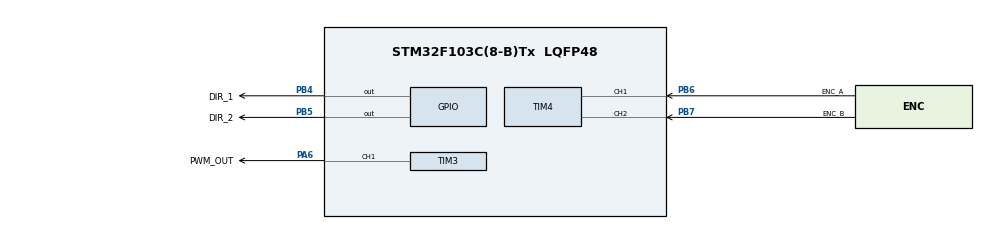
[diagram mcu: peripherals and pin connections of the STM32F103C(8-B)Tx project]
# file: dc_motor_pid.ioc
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Mcu.Family=STM32F1
Mcu.Name=STM32F103C(8-B)Tx
Mcu.Package=LQFP48
NVIC.PriorityGroup=NVIC_PRIORITYGROUP_4
NVIC.TIM2_IRQn=true\:0\:0\:false\:false\:true\:true\:true\:true
PA13.Mode=Serial_Wire
PA13.Signal=SYS_JTMS-SWDIO
PA14.Mode=Serial_Wire
PA14.Signal=SYS_JTCK-SWCLK
PA6.GPIO_Label=PWM_OUT
PA6.Signal=S_TIM3_CH1
PB4.GPIO_Label=DIR_1
PB4.Signal=GPIO_Output
PB5.GPIO_Label=DIR_2
PB5.Signal=GPIO_Output
PB6.GPIO_Label=ENC_A
PB6.Signal=S_TIM4_CH1
PB7.GPIO_Label=ENC_B
PB7.Signal=S_TIM4_CH2
ProjectManager.HeapSize=0x200
ProjectManager.StackSize=0x400
ProjectManager.TargetToolchain=STM32CubeIDE
RCC.APB1Freq_Value=8000000
RCC.APB2Freq_Value=8000000
SH.S_TIM3_CH1.0=TIM3_CH1,PWM Generation1 CH1
SH.S_TIM4_CH1.0=TIM4_CH1,Encoder_Interface
SH.S_TIM4_CH2.0=TIM4_CH2,Encoder_Interface
TIM2.Period=100-1
TIM2.Prescaler=7200-1
TIM3.Channel-PWM\ Generation1\ CH1=TIM_CHANNEL_1
TIM3.Period=1000-1
TIM3.Prescaler=72-1
TIM3.Pulse-PWM\ Generation1\ CH1=63
TIM4.EncoderMode=TIM_ENCODERMODE_TI12
VP_TIM1_VS_ClockSourceINT.Mode=Internal
VP_TIM2_VS_ClockSourceINT.Mode=Internal
VP_TIM3_VS_ClockSourceINT.Mode=Internal
board=custom

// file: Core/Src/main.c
/* USER CODE BEGIN Header */
/**
  ******************************************************************************
  * @file           : main.c
  * @brief          : Main program body
  ******************************************************************************
  * @attention
  *
  * Copyright (c) 2024 STMicroelectronics.
  * All rights reserved.
  *
  * This software is licensed under terms that can be found in the LICENSE file
  * in the root directory of this software component.
  * If no LICENSE file comes with this software, it is provided AS-IS.
  *
  ******************************************************************************
  */
/* USER CODE END Header */
#include "main.h"

/* USER CODE BEGIN PD */
#define ENCODER_A_PIN GPIO_PIN_6  // Encoder Channel A -> PB6
#define ENCODER_B_PIN GPIO_PIN_7  // Encoder Channel B -> PB7
#define ENCODER_GPIO_PORT GPIOB   // GPIO port for encoder pins
#define ENCODER_TIMER TIM4        // Timer associated with encoder
#define KP 50
#define KI 20
#define KD 10
#define ENCODER_A GPIO_PIN_6 //PA6
#define ENCODER_B GPIO_PIN_7 //PA7
#define PID_SCALE 100 // Scale factor for Kp, Ki, Kd
#define MAX_PWM 255  // Maximum PWM value
#define MIN_PWM 0    // Minimum PWM value
#define INTEGRAL_MAX 256 // Saturation for integral term
/* USER CODE END PD */

TIM_HandleTypeDef htim1;
TIM_HandleTypeDef htim2;
TIM_HandleTypeDef htim3;
TIM_HandleTypeDef htim4;

/* USER CODE BEGIN PV */
volatile int32_t encoder_count = 0; // Encoder position
volatile int16_t target_speed = 0;  // Desired speed (encoder counts per second)
volatile int16_t current_speed = 0; // Computed speed
volatile int16_t pwm_output = 0;    // PWM output value
volatile int32_t integral = 0;      // Integral term
volatile int16_t prev_error = 0;    // Previous error
/* USER CODE END PV */

void SystemClock_Config(void);
static void MX_GPIO_Init(void);
static void MX_TIM1_Init(void);
static void MX_TIM4_Init(void);
static void MX_TIM2_Init(void);
static void MX_TIM3_Init(void);

/* USER CODE BEGIN 0 */
void HAL_TIM_IC_CaptureCallback(TIM_HandleTypeDef *htim){
	encoder_count = 1;//__HAL_TIM_GET_COUNTER(htim);
}

/* USER CODE END 0 */

int main(void)
{

  /* MCU Configuration--------------------------------------------------------*/

  /* Reset of all peripherals, Initializes the Flash interface and the Systick. */
  HAL_Init();

  /* Configure the system clock */
  SystemClock_Config();

  /* Initialize all configured peripherals */
  MX_GPIO_Init();
  MX_TIM1_Init();
  MX_TIM4_Init();
  MX_TIM2_Init();
  MX_TIM3_Init();
  /* USER CODE BEGIN 2 */
  HAL_TIM_Encoder_Start_IT(&htim4, TIM_CHANNEL_ALL);
  /* USER CODE END 2 */

  /* Infinite loop */
  while (1)
  {

  }
}

void SystemClock_Config(void)
{
  RCC_OscInitTypeDef RCC_OscInitStruct = {0};
  RCC_ClkInitTypeDef RCC_ClkInitStruct = {0};

  /** Initializes the RCC Oscillators according to the specified parameters
  * in the RCC_OscInitTypeDef structure.
  */
  RCC_OscInitStruct.OscillatorType = RCC_OSCILLATORTYPE_HSI;
  RCC_OscInitStruct.HSIState = RCC_HSI_ON;
  RCC_OscInitStruct.HSICalibrationValue = RCC_HSICALIBRATION_DEFAULT;
  RCC_OscInitStruct.PLL.PLLState = RCC_PLL_NONE;
  if (HAL_RCC_OscConfig(&RCC_OscInitStruct) != HAL_OK)
  {
    Error_Handler();
  }

  /** Initializes the CPU, AHB and APB buses clocks
  */
  RCC_ClkInitStruct.ClockType = RCC_CLOCKTYPE_HCLK|RCC_CLOCKTYPE_SYSCLK
                              |RCC_CLOCKTYPE_PCLK1|RCC_CLOCKTYPE_PCLK2;
  RCC_ClkInitStruct.SYSCLKSource = RCC_SYSCLKSOURCE_HSI;
  RCC_ClkInitStruct.AHBCLKDivider = RCC_SYSCLK_DIV1;
  RCC_ClkInitStruct.APB1CLKDivider = RCC_HCLK_DIV1;
  RCC_ClkInitStruct.APB2CLKDivider = RCC_HCLK_DIV1;

  if (HAL_RCC_ClockConfig(&RCC_ClkInitStruct, FLASH_LATENCY_0) != HAL_OK)
  {
    Error_Handler();
  }
}

static void MX_TIM1_Init(void)
{

  TIM_ClockConfigTypeDef sClockSourceConfig = {0};
  TIM_MasterConfigTypeDef sMasterConfig = {0};

  htim1.Instance = TIM1;
  htim1.Init.Prescaler = 0;
  htim1.Init.CounterMode = TIM_COUNTERMODE_UP;
  htim1.Init.Period = 65535;
  htim1.Init.ClockDivision = TIM_CLOCKDIVISION_DIV1;
  htim1.Init.RepetitionCounter = 0;
  htim1.Init.AutoReloadPreload = TIM_AUTORELOAD_PRELOAD_DISABLE;
  if (HAL_TIM_Base_Init(&htim1) != HAL_OK)
  {
    Error_Handler();
  }
  sClockSourceConfig.ClockSource = TIM_CLOCKSOURCE_INTERNAL;
  if (HAL_TIM_ConfigClockSource(&htim1, &sClockSourceConfig) != HAL_OK)
  {
    Error_Handler();
  }
  sMasterConfig.MasterOutputTrigger = TIM_TRGO_RESET;
  sMasterConfig.MasterSlaveMode = TIM_MASTERSLAVEMODE_DISABLE;
  if (HAL_TIMEx_MasterConfigSynchronization(&htim1, &sMasterConfig) != HAL_OK)
  {
    Error_Handler();
  }

}

static void MX_TIM2_Init(void)
{

  TIM_ClockConfigTypeDef sClockSourceConfig = {0};
  TIM_MasterConfigTypeDef sMasterConfig = {0};

  htim2.Instance = TIM2;
  htim2.Init.Prescaler = 7200-1;
  htim2.Init.CounterMode = TIM_COUNTERMODE_UP;
  htim2.Init.Period = 100-1;
  htim2.Init.ClockDivision = TIM_CLOCKDIVISION_DIV1;
  htim2.Init.AutoReloadPreload = TIM_AUTORELOAD_PRELOAD_DISABLE;
  if (HAL_TIM_Base_Init(&htim2) != HAL_OK)
  {
    Error_Handler();
  }
  sClockSourceConfig.ClockSource = TIM_CLOCKSOURCE_INTERNAL;
  if (HAL_TIM_ConfigClockSource(&htim2, &sClockSourceConfig) != HAL_OK)
  {
    Error_Handler();
  }
  sMasterConfig.MasterOutputTrigger = TIM_TRGO_RESET;
  sMasterConfig.MasterSlaveMode = TIM_MASTERSLAVEMODE_DISABLE;
  if (HAL_TIMEx_MasterConfigSynchronization(&htim2, &sMasterConfig) != HAL_OK)
  {
    Error_Handler();
  }

}

static void MX_TIM3_Init(void)
{

  TIM_ClockConfigTypeDef sClockSourceConfig = {0};
  TIM_MasterConfigTypeDef sMasterConfig = {0};
  TIM_OC_InitTypeDef sConfigOC = {0};

  htim3.Instance = TIM3;
  htim3.Init.Prescaler = 72-1;
  htim3.Init.CounterMode = TIM_COUNTERMODE_UP;
  htim3.Init.Period = 1000-1;
  htim3.Init.ClockDivision = TIM_CLOCKDIVISION_DIV1;
  htim3.Init.AutoReloadPreload = TIM_AUTORELOAD_PRELOAD_DISABLE;
  if (HAL_TIM_Base_Init(&htim3) != HAL_OK)
  {
    Error_Handler();
  }
  sClockSourceConfig.ClockSource = TIM_CLOCKSOURCE_INTERNAL;
  if (HAL_TIM_ConfigClockSource(&htim3, &sClockSourceConfig) != HAL_OK)
  {
    Error_Handler();
  }
  if (HAL_TIM_PWM_Init(&htim3) != HAL_OK)
  {
    Error_Handler();
  }
  sMasterConfig.MasterOutputTrigger = TIM_TRGO_RESET;
  sMasterConfig.MasterSlaveMode = TIM_MASTERSLAVEMODE_DISABLE;
  if (HAL_TIMEx_MasterConfigSynchronization(&htim3, &sMasterConfig) != HAL_OK)
  {
    Error_Handler();
  }
  sConfigOC.OCMode = TIM_OCMODE_PWM1;
  sConfigOC.Pulse = 63;
  sConfigOC.OCPolarity = TIM_OCPOLARITY_HIGH;
  sConfigOC.OCFastMode = TIM_OCFAST_DISABLE;
  if (HAL_TIM_PWM_ConfigChannel(&htim3, &sConfigOC, TIM_CHANNEL_1) != HAL_OK)
  {
    Error_Handler();
  }
  HAL_TIM_MspPostInit(&htim3);

}

static void MX_TIM4_Init(void)
{

  TIM_Encoder_InitTypeDef sConfig = {0};
  TIM_MasterConfigTypeDef sMasterConfig = {0};

  htim4.Instance = TIM4;
  htim4.Init.Prescaler = 0;
  htim4.Init.CounterMode = TIM_COUNTERMODE_UP;
  htim4.Init.Period = 65535;
  htim4.Init.ClockDivision = TIM_CLOCKDIVISION_DIV1;
  htim4.Init.AutoReloadPreload = TIM_AUTORELOAD_PRELOAD_DISABLE;
  sConfig.EncoderMode = TIM_ENCODERMODE_TI12;
  sConfig.IC1Polarity = TIM_ICPOLARITY_RISING;
  sConfig.IC1Selection = TIM_ICSELECTION_DIRECTTI;
  sConfig.IC1Prescaler = TIM_ICPSC_DIV1;
  sConfig.IC1Filter = 0;
  sConfig.IC2Polarity = TIM_ICPOLARITY_RISING;
  sConfig.IC2Selection = TIM_ICSELECTION_DIRECTTI;
  sConfig.IC2Prescaler = TIM_ICPSC_DIV1;
  sConfig.IC2Filter = 0;
  if (HAL_TIM_Encoder_Init(&htim4, &sConfig) != HAL_OK)
  {
    Error_Handler();
  }
  sMasterConfig.MasterOutputTrigger = TIM_TRGO_RESET;
  sMasterConfig.MasterSlaveMode = TIM_MASTERSLAVEMODE_DISABLE;
  if (HAL_TIMEx_MasterConfigSynchronization(&htim4, &sMasterConfig) != HAL_OK)
  {
    Error_Handler();
  }

}

static void MX_GPIO_Init(void)
{
  GPIO_InitTypeDef GPIO_InitStruct = {0};

  /* GPIO Ports Clock Enable */
  __HAL_RCC_GPIOA_CLK_ENABLE();
  __HAL_RCC_GPIOB_CLK_ENABLE();

  /*Configure GPIO pin Output Level */
  HAL_GPIO_WritePin(GPIOB, DIR_1_Pin|DIR_2_Pin, GPIO_PIN_RESET);

  /*Configure GPIO pins : DIR_1_Pin DIR_2_Pin */
  GPIO_InitStruct.Pin = DIR_1_Pin|DIR_2_Pin;
  GPIO_InitStruct.Mode = GPIO_MODE_OUTPUT_PP;
  GPIO_InitStruct.Pull = GPIO_NOPULL;
  GPIO_InitStruct.Speed = GPIO_SPEED_FREQ_LOW;
  HAL_GPIO_Init(GPIOB, &GPIO_InitStruct);

}

/* USER CODE BEGIN 4 */
void HAL_TIM_PeriodElapsedCallback(TIM_HandleTypeDef *htim) {
    if (htim->Instance == TIM2) { // Timer update interrupt
        static int32_t last_encoder_count = 0;
        int32_t count = encoder_count;
        current_speed = count - last_encoder_count;
        last_encoder_count = count;

        int16_t error = target_speed - current_speed;
        int32_t p_term = KP * error;
        integral += error;

        if (integral > INTEGRAL_MAX) {
        	integral = INTEGRAL_MAX;
        }
        else if (integral < -INTEGRAL_MAX) {
        	integral = -INTEGRAL_MAX;
        }
        int32_t i_term = KI * integral;

        int32_t d_term = KD * (error - prev_error);
        prev_error = error;

        int32_t output = (p_term + i_term + d_term) / PID_SCALE;

        if (output > MAX_PWM) {
        	output = MAX_PWM;
        }
        else if (output < MIN_PWM) {
        	output = MIN_PWM;
        }
        pwm_output = (int16_t)output;
        htim3.Instance->CCR1 = pwm_output;
        //__HAL_TIM_SET_COMPARE(&htim3, TIM_CHANNEL_1, pwm_output);
    }
}
/* USER CODE END 4 */

void Error_Handler(void)
{
  __disable_irq();
  while (1)
  {
  }
}
